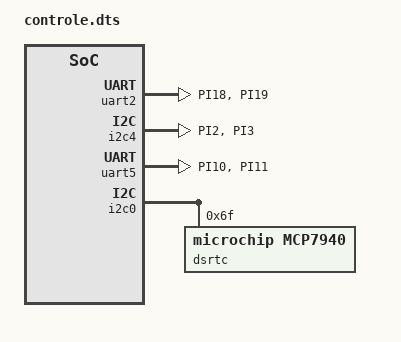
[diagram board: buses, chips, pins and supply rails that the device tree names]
/*
 * Overlay for the controle board
 */

/dts-v1/;
/plugin/;

/ {
	compatible = "olimex,a20-olinuxino-lime2", "olimex,a20-olinuxino-lime2-emmc";

	fragment@0 {
		target = <&pio>;
		__overlay__ {
			i2c4_pins: i2c4-pins {
				pins = "PI2", "PI3";
				function = "i2c4";
			};
			uart2_pi_pins: uart2-pi-pins {
				pins = "PI18", "PI19";
				function = "uart2";
			};
			uart5_pi_pins: uart5-pi-pins {
				pins = "PI10", "PI11";
				function = "uart5";
			};
		};
	};

	fragment@1 {
		target = <&uart2>;
		__overlay__ {
			pinctrl-names = "default";
			pinctrl-0 = <&uart2_pi_pins>;
			status = "okay";
		};
	};

	fragment@2 {
		target = <&i2c4>;
		__overlay__ {
			pinctrl-names = "default";
			pinctrl-0 = <&i2c4_pins>;
			status = "okay";
		};
	};

	fragment@3 {
		target = <&uart5>;
		__overlay__ {
			pinctrl-names = "default";
			pinctrl-0 = <&uart5_pi_pins>;
			status = "okay";
		};
	};
	fragment@4 {
		target = <&i2c0>;
		__overlay__ {
			#address-cells = <1>;
			#size-cells = <0>;
			dsrtc: dsrtc@6f {
				compatible = "microchip,mcp7940";
				reg = <0x6f>;
			};
		};
	};

	fragment@5 {
		target = <&rtc>;
		__overlay__ {
			status = "disabled";
		};
	};

};
